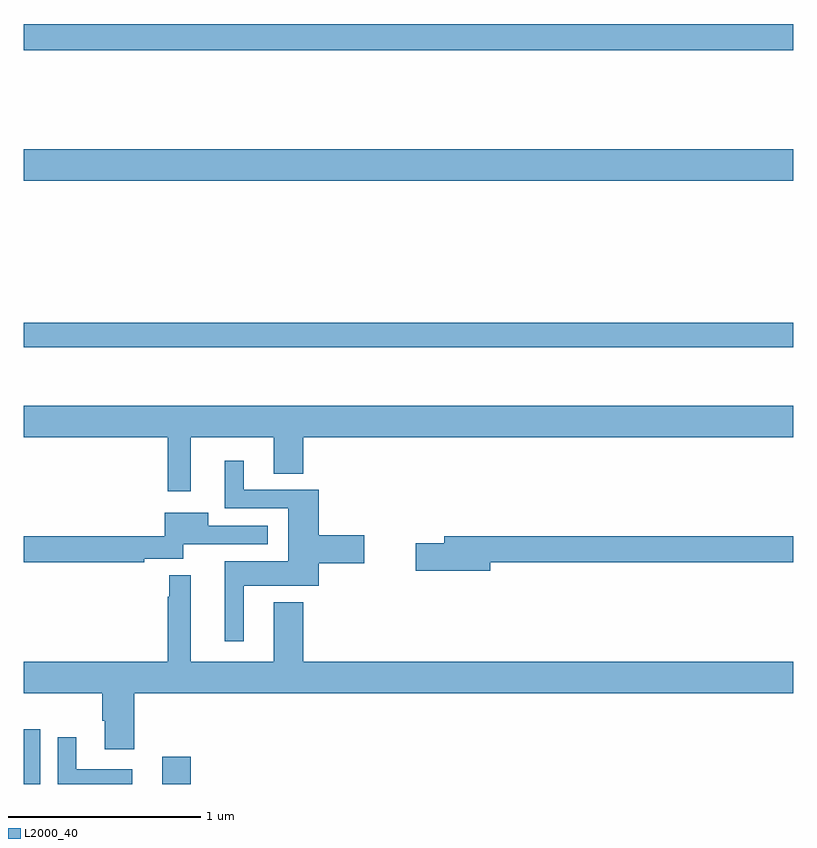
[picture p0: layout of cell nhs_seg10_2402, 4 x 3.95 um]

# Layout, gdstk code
import gdstk
lib = gdstk.Library(unit=1e-6, precision=1e-09)
def R(c, l, rs):  # rectangles x0, y0, x1, y1
    for r in rs: c.add(gdstk.rectangle(r[:2], r[2:], *l))
def P(c, l, *ps):  # polygons
    for p in ps: c.add(gdstk.Polygon(p, *l))
L2000_40 = (2000, 40)

nhs_seg10_2402 = lib.new_cell('nhs_seg10_2402')
R(nhs_seg10_2402, L2000_40, [(239,1310.5,239.085,1310.784), (239.72,1310.5,239.867,1310.641), (239,1312.77,243,1312.898), (239,1313.636,243,1313.8), (239,1314.316,243,1314.452)])
P(nhs_seg10_2402, L2000_40, [(239,1312.304),(239.748,1312.304),(239.748,1312.023),(239.869,1312.023),(239.869,1312.304),(240.299,1312.304),(240.299,1312.114),(240.452,1312.114),(240.452,1312.304),(243,1312.304),(243,1312.468),(239,1312.468)],
  [(240.142,1311.53),(240.533,1311.53),(240.533,1311.647),(240.769,1311.647),(240.769,1311.794),(240.533,1311.794),(240.533,1312.029),(240.142,1312.029),(240.142,1312.18),(240.044,1312.18),(240.044,1311.933),(240.374,1311.933),(240.374,1311.658),(240.044,1311.658),(240.044,1311.243),(240.142,1311.243)],
  [(239.626,1311.672),(239.829,1311.672),(239.829,1311.747),(240.268,1311.747),(240.268,1311.843),(239.959,1311.843),(239.959,1311.91),(239.733,1311.91),(239.733,1311.788),(239,1311.788),(239,1311.652),(239.626,1311.652)],
  [(241.426,1311.652),(243,1311.652),(243,1311.788),(241.187,1311.788),(241.187,1311.752),(241.038,1311.752),(241.038,1311.61),(241.426,1311.61)],
  [(239.573,1310.972),(243,1310.972),(243,1311.136),(240.452,1311.136),(240.452,1311.445),(240.299,1311.445),(240.299,1311.136),(239.869,1311.136),(239.869,1311.586),(239.756,1311.586),(239.756,1311.473),(239.748,1311.473),(239.748,1311.136),(239,1311.136),(239,1310.972),(239.408,1310.972),(239.408,1310.83),(239.42,1310.83),(239.42,1310.682),(239.573,1310.682)],
  [(239.563,1310.578),(239.272,1310.578),(239.272,1310.743),(239.175,1310.743),(239.175,1310.5),(239.563,1310.5)])

lib.write_gds('nhs_seg10_2402.gds')
